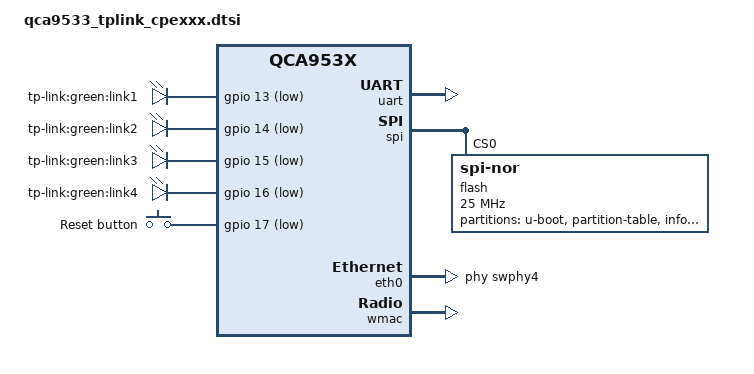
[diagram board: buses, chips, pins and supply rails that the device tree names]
// SPDX-License-Identifier: GPL-2.0-or-later OR MIT

#include "qca953x.dtsi"

#include <dt-bindings/gpio/gpio.h>
#include <dt-bindings/input/input.h>

/ {
	aliases {
		led-boot = &led_link4;
		led-failsafe = &led_link4;
		led-running = &led_link4;
		led-upgrade = &led_link4;
		label-mac-device = &wmac;
	};

	leds: leds {
		compatible = "gpio-leds";

		link1 {
			label = "tp-link:green:link1";
			gpios = <&gpio 13 GPIO_ACTIVE_LOW>;
		};

		link2 {
			label = "tp-link:green:link2";
			gpios = <&gpio 14 GPIO_ACTIVE_LOW>;
		};

		link3 {
			label = "tp-link:green:link3";
			gpios = <&gpio 15 GPIO_ACTIVE_LOW>;
		};

		led_link4: link4 {
			label = "tp-link:green:link4";
			gpios = <&gpio 16 GPIO_ACTIVE_LOW>;
		};
	};

	keys {
		compatible = "gpio-keys";

		reset {
			label = "Reset button";
			linux,code = <KEY_RESTART>;
			gpios = <&gpio 17 GPIO_ACTIVE_LOW>;
		};
	};
};

&uart {
	status = "okay";
};

&spi {
	status = "okay";

	num-cs = <1>;

	flash@0 {
		#address-cells = <1>;
		#size-cells = <1>;
		compatible = "jedec,spi-nor";
		reg = <0>;
		spi-max-frequency = <25000000>;

		partitions {
			compatible = "fixed-partitions";
			#address-cells = <1>;
			#size-cells = <1>;

			uboot: partition@0 {
				label = "u-boot";
				reg = <0x000000 0x020000>;
				read-only;
			};

			partition@20000 {
				label = "partition-table";
				reg = <0x020000 0x010000>;
				read-only;
			};

			info: partition@30000 {
				label = "info";
				reg = <0x030000 0x010000>;
				read-only;
			};

			partition@40000 {
				label = "firmware";
				reg = <0x040000 0x780000>;
				compatible = "tplink,firmware";
			};

			config: partition@7c0000 {
				label = "config";
				reg = <0x7c0000 0x030000>;
				read-only;
			};

			art: partition@7f0000 {
				label = "art";
				reg = <0x7f0000 0x010000>;
				read-only;
			};
		};
	};
};

&eth0 {
	status = "okay";

	phy-handle = <&swphy4>;

	mtd-mac-address = <&info 0x8>;
};

&wmac {
	status = "okay";

	mtd-cal-data = <&art 0x1000>;
	mtd-mac-address = <&info 0x8>;
};
